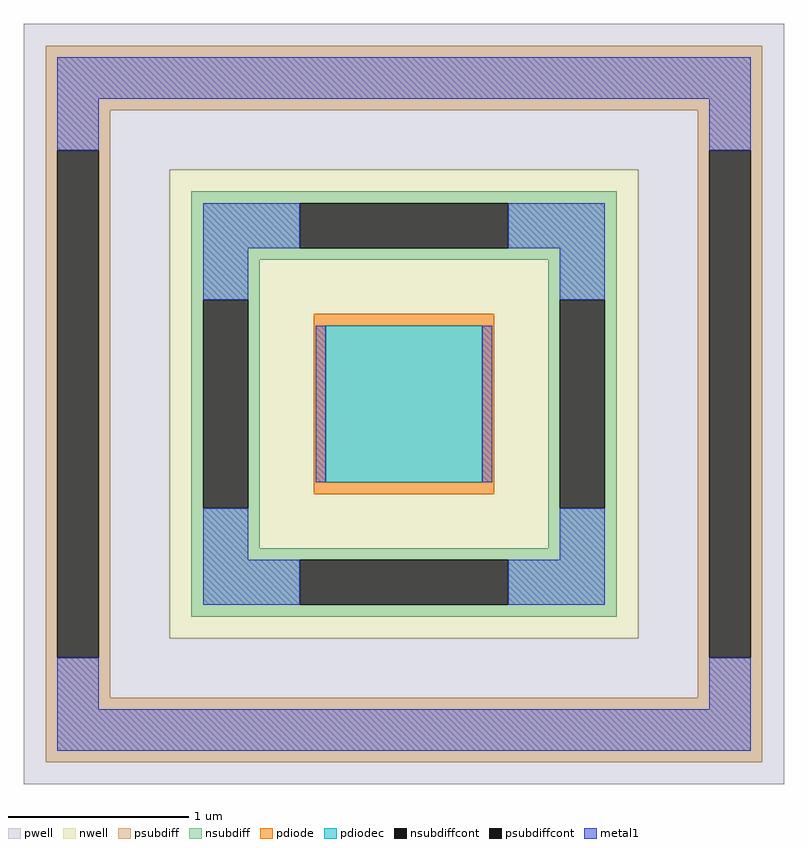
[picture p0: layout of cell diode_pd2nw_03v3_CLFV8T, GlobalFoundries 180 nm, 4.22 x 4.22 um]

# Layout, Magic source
magic
tech gf180mcuD
magscale 1 10
<< nwell >>
rect -260 -260 260 260
<< pwell >>
rect -422 260 422 422
rect -422 -260 -260 260
rect 260 -260 422 260
rect -422 -422 422 -260
<< psubdiff >>
rect -398 326 398 398
rect -398 282 -326 326
rect -398 -282 -385 282
rect -339 -282 -326 282
rect 326 282 398 326
rect -398 -326 -326 -282
rect 326 -282 339 282
rect 385 -282 398 282
rect 326 -326 398 -282
rect -398 -398 398 -326
<< nsubdiff >>
rect -236 223 236 236
rect -236 173 -116 223
rect 116 173 236 223
rect -236 160 236 173
rect -236 116 -160 160
rect -236 -116 -223 116
rect -173 -116 -160 116
rect 160 116 236 160
rect -236 -160 -160 -116
rect 160 -116 173 116
rect 223 -116 236 116
rect 160 -160 236 -116
rect -236 -173 236 -160
rect -236 -223 -116 -173
rect 116 -223 236 -173
rect -236 -236 236 -223
<< psubdiffcont >>
rect -385 -282 -339 282
rect 339 -282 385 282
<< nsubdiffcont >>
rect -116 173 116 223
rect -223 -116 -173 116
rect 173 -116 223 116
rect -116 -223 116 -173
<< pdiode >>
rect -100 87 100 100
rect -100 -87 -87 87
rect 87 -87 100 87
rect -100 -100 100 -87
<< pdiodec >>
rect -87 -87 87 87
<< metal1 >>
rect -385 339 385 385
rect -385 282 -339 339
rect 339 282 385 339
rect -223 173 -116 223
rect 116 173 223 223
rect -223 116 -173 173
rect 173 116 223 173
rect -98 -87 -87 87
rect 87 -87 98 87
rect -223 -173 -173 -116
rect 173 -173 223 -116
rect -223 -223 -116 -173
rect 116 -223 223 -173
rect -385 -339 -339 -282
rect 339 -339 385 -282
rect -385 -385 385 -339
<< properties >>
string FIXED_BBOX -198 -198 198 198
string gencell diode_pd2nw_03v3
string library gf180mcu
string parameters w 1 l 1 area 1.0 peri 4.0 nx 1 ny 1 dummy 0 lmin 0.45 wmin 0.45 class diode elc 1 erc 1 etc 1 ebc 1 glc 1 grc 1 gtc 0 gbc 0 doverlap 0 full_metal 1 compatible {diode_pd2nw_03v3 diode_pd2nw_06v0}
<< end >>
